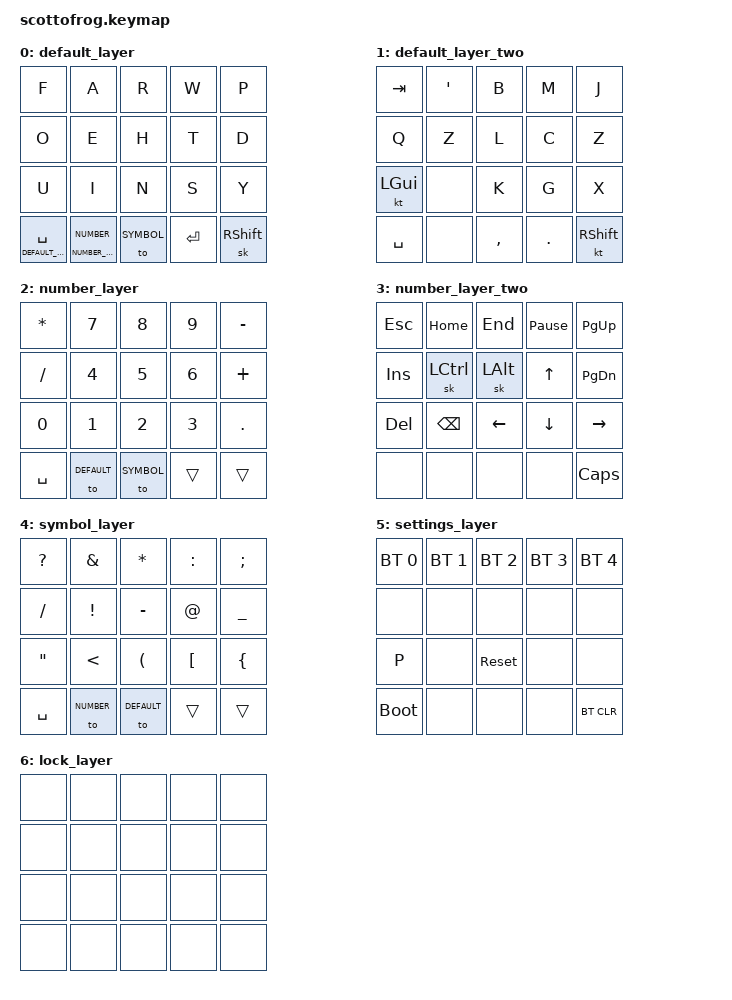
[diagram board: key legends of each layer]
#include <behaviors.dtsi>
#include <dt-bindings/zmk/keys.h>
#include <dt-bindings/zmk/bt.h>

#define DEFAULT 0
#define DEFAULT_TWO 1
#define NUMBER 2
#define NUMBER_TWO 3
#define SYMBOL 4
#define SETTINGS 5
#define LOCK 6

// Behavior Overrides
&lt {
    tapping-term-ms = <200>;
    flavor = "hold-preferred";
}; 

#define COMBO_TIMEOUT 50

/ {
    behaviors {
        mo_to: mo_to {
            compatible = "zmk,behavior-hold-tap";
            #binding-cells = <2>;
            flavor = "hold-preferred";
            tapping-term-ms = <200>;
            bindings = <&mo>, <&tog>;
        };
    };

    combos {
        compatible = "zmk,combos";

        // Meta combos
        meta_settings_combo {
            timeout-ms = <50>;
            key-positions = <16 17 18>;
            bindings = <&mo SETTINGS>;
        };

        meta_lock_combo {
            timeout-ms = <50>;
            key-positions = <15 17 19>;
            bindings = <&tog LOCK>;
        };

        // Letter combos
        letters_tab_combo {
            timeout-ms = <COMBO_TIMEOUT>;
            key-positions = <15 0>;
            bindings = <&kp TAB>;
            layers = <DEFAULT>;
        };

        letters_single_quote_combo {
            timeout-ms = <COMBO_TIMEOUT>;
            key-positions = <15 1>;
            bindings = <&kp SINGLE_QUOTE>;
            layers = <DEFAULT>;
        };

        letters_b_combo {
            timeout-ms = <COMBO_TIMEOUT>;
            key-positions = <15 2>;
            bindings = <&kp B>;
            layers = <DEFAULT>;
        };

        letters_m_combo {
            timeout-ms = <COMBO_TIMEOUT>;
            key-positions = <15 3>;
            bindings = <&kp M>;
            layers = <DEFAULT>;
        };

        letters_j_combo {
            timeout-ms = <COMBO_TIMEOUT>;
            key-positions = <15 4>;
            bindings = <&kp J>;
            layers = <DEFAULT>;
        };

        letters_q_combo {
            timeout-ms = <COMBO_TIMEOUT>;
            key-positions = <15 5>;
            bindings = <&kp Q>;
            layers = <DEFAULT>;
        };

        letters_z_combo {
            timeout-ms = <COMBO_TIMEOUT>;
            key-positions = <15 6>;
            bindings = <&kp Z>;
            layers = <DEFAULT>;
        };

        letters_l_combo {
            timeout-ms = <COMBO_TIMEOUT>;
            key-positions = <15 7>;
            bindings = <&kp L>;
            layers = <DEFAULT>;
        };

        letters_c_combo {
            timeout-ms = <COMBO_TIMEOUT>;
            key-positions = <15 8>;
            bindings = <&kp C>;
            layers = <DEFAULT>;
        };

        letters_v_combo {
            timeout-ms = <COMBO_TIMEOUT>;
            key-positions = <15 9>;
            bindings = <&kp V>;
            layers = <DEFAULT>;
        };

        letters_windows_combo {
            timeout-ms = <COMBO_TIMEOUT>;
            key-positions = <15 10>;
            bindings = <&sk LGUI>;
            layers = <DEFAULT>;
        };

        letters_app_combo {
            timeout-ms = <COMBO_TIMEOUT>;
            key-positions = <15 11>;
            bindings = <&kp K_APP>;
            layers = <DEFAULT>;
        };

        letters_k_combo {
            timeout-ms = <COMBO_TIMEOUT>;
            key-positions = <15 12>;
            bindings = <&kp K>;
            layers = <DEFAULT>;
        };

        letters_g_combo {
            timeout-ms = <COMBO_TIMEOUT>;
            key-positions = <15 13>;
            bindings = <&kp G>;
            layers = <DEFAULT>;
        };

        letters_x_combo {
            timeout-ms = <COMBO_TIMEOUT>;
            key-positions = <15 14>;
            bindings = <&kp X>;
            layers = <DEFAULT>;
        };

        letters_comma_combo {
            timeout-ms = <COMBO_TIMEOUT>;
            key-positions = <15 17>;
            bindings = <&kp COMMA>;
        };

        letters_period_combo {
            timeout-ms = <COMBO_TIMEOUT>;
            key-positions = <15 18>;
            bindings = <&kp PERIOD>;
        };

        // Symbol combos
        symbol_plus_combo {
            timeout-ms = <COMBO_TIMEOUT>;
            key-positions = <15 1>;
            bindings = <&kp PLUS>;
            layers = <SYMBOL>;
        };

        symbol_equal_combo {
            timeout-ms = <COMBO_TIMEOUT>;
            key-positions = <15 2>;
            bindings = <&kp EQUAL>;
            layers = <SYMBOL>;
        };

        symbol_dollar_combo {
            timeout-ms = <COMBO_TIMEOUT>;
            key-positions = <15 3>;
            bindings = <&kp DOLLAR>;
            layers = <SYMBOL>;
        };

        symbol_hash_combo {
            timeout-ms = <COMBO_TIMEOUT>;
            key-positions = <15 4>;
            bindings = <&kp HASH>;
            layers = <SYMBOL>;
        };

        symbol_backslash_combo {
            timeout-ms = <COMBO_TIMEOUT>;
            key-positions = <15 5>;
            bindings = <&kp BACKSLASH>;
            layers = <SYMBOL>;
        };

        symbol_percent_combo {
            timeout-ms = <COMBO_TIMEOUT>;
            key-positions = <15 6>;
            bindings = <&kp PERCENT>;
            layers = <SYMBOL>;
        };

        symbol_pipe_combo {
            timeout-ms = <COMBO_TIMEOUT>;
            key-positions = <15 7>;
            bindings = <&kp PIPE>;
            layers = <SYMBOL>;
        };

        symbol_tilde_combo {
            timeout-ms = <COMBO_TIMEOUT>;
            key-positions = <15 8>;
            bindings = <&kp TILDE>;
            layers = <SYMBOL>;
        };

        symbol_caret_combo {
            timeout-ms = <COMBO_TIMEOUT>;
            key-positions = <15 9>;
            bindings = <&kp CARET>;
            layers = <SYMBOL>;
        }; 

        symbol_grave_combo {
            timeout-ms = <COMBO_TIMEOUT>;
            key-positions = <15 10>;
            bindings = <&kp GRAVE>;
            layers = <SYMBOL>;
        };

        symbol_greater_than_combo {
            timeout-ms = <COMBO_TIMEOUT>;
            key-positions = <15 11>;
            bindings = <&kp GREATER_THAN>;
            layers = <SYMBOL>;
        };

        symbol_right_parenthesis_combo {
            timeout-ms = <COMBO_TIMEOUT>;
            key-positions = <15 12>;
            bindings = <&kp RIGHT_PARENTHESIS>;
            layers = <SYMBOL>;
        };

        symbol_right_bracket_combo {
            timeout-ms = <COMBO_TIMEOUT>;
            key-positions = <15 13>;
            bindings = <&kp RIGHT_BRACKET>;
            layers = <SYMBOL>;
        };

        symbol_right_brace_combo {
            timeout-ms = <COMBO_TIMEOUT>;
            key-positions = <15 14>;
            bindings = <&kp RIGHT_BRACE>;
            layers = <SYMBOL>;
        }; 

        // Number combos
        number_f7_combo {
            timeout-ms = <COMBO_TIMEOUT>;
            key-positions = <15 1>;
            bindings = <&kp F7>;
            layers = <NUMBER>;
        };

        number_f8_combo {
            timeout-ms = <COMBO_TIMEOUT>;
            key-positions = <15 2>;
            bindings = <&kp F8>;
            layers = <NUMBER>;
        };

        number_f9_combo {
            timeout-ms = <COMBO_TIMEOUT>;
            key-positions = <15 3>;
            bindings = <&kp F9>;
            layers = <NUMBER>;
        };

        number_minus_combo {
            timeout-ms = <COMBO_TIMEOUT>;
            key-positions = <15 4>;
            bindings = <&kp MINUS>;
            layers = <NUMBER>;
        };

        number_f11_combo {
            timeout-ms = <COMBO_TIMEOUT>;
            key-positions = <15 5>;
            bindings = <&kp F11>;
            layers = <NUMBER>;
        };

        number_f4_combo {
            timeout-ms = <COMBO_TIMEOUT>;
            key-positions = <15 6>;
            bindings = <&kp F4>;
            layers = <NUMBER>;
        };

        number_f5_combo {
            timeout-ms = <COMBO_TIMEOUT>;
            key-positions = <15 7>;
            bindings = <&kp F5>;
            layers = <NUMBER>;
        };

        number_f6_combo {
            timeout-ms = <COMBO_TIMEOUT>;
            key-positions = <15 8>;
            bindings = <&kp F6>;
            layers = <NUMBER>;
        };

        number_f12_combo {
            timeout-ms = <COMBO_TIMEOUT>;
            key-positions = <15 9>;
            bindings = <&kp F12>;
            layers = <NUMBER>;
        };

        number_f1_combo {
            timeout-ms = <COMBO_TIMEOUT>;
            key-positions = <15 11>;
            bindings = <&kp F1>;
            layers = <NUMBER>;
        };

        number_f2_combo {
            timeout-ms = <COMBO_TIMEOUT>;
            key-positions = <15 12>;
            bindings = <&kp F2>;
            layers = <NUMBER>;
        };

        number_f3_combo {
            timeout-ms = <COMBO_TIMEOUT>;
            key-positions = <15 13>;
            bindings = <&kp F3>;
            layers = <NUMBER>;
        };

        number_equal_combo {
            timeout-ms = <COMBO_TIMEOUT>;
            key-positions = <15 14>;
            bindings = <&kp EQUAL>;
            layers = <NUMBER>;
        };

        // Orange combos
        orange_esc_combo {
            timeout-ms = <COMBO_TIMEOUT>;
            key-positions = <16 0>;
            bindings = <&kp ESC>;
            layers = <DEFAULT>;
        };

        orange_home_combo {
            timeout-ms = <COMBO_TIMEOUT>;
            key-positions = <16 1>;
            bindings = <&kp HOME>;
            layers = <DEFAULT>;
        };

        orange_end_combo {
            timeout-ms = <COMBO_TIMEOUT>;
            key-positions = <16 2>;
            bindings = <&kp END>;
            layers = <DEFAULT>;
        };

        orange_pause_break_combo {
            timeout-ms = <COMBO_TIMEOUT>;
            key-positions = <16 3>;
            bindings = <&kp PAUSE_BREAK>;
            layers = <DEFAULT>;
        };

        orange_page_up_combo {
            timeout-ms = <COMBO_TIMEOUT>;
            key-positions = <16 4>;
            bindings = <&kp PAGE_UP>;
            layers = <DEFAULT>;
        };

        orange_insert_combo {
            timeout-ms = <COMBO_TIMEOUT>;
            key-positions = <16 5>;
            bindings = <&kp INSERT>;
            layers = <DEFAULT>;
        };

        orange_lctrl_combo {
            timeout-ms = <COMBO_TIMEOUT>;
            key-positions = <16 6>;
            bindings = <&sk LCTRL>;
            layers = <DEFAULT>;
        };

        orange_lalt_combo {
            timeout-ms = <COMBO_TIMEOUT>;
            key-positions = <16 7>;
            bindings = <&sk LALT>;
            layers = <DEFAULT>;
        };

        orange_up_arrow_combo {
            timeout-ms = <COMBO_TIMEOUT>;
            key-positions = <16 8>;
            bindings = <&kp UP_ARROW>;
            layers = <DEFAULT>;
        };

        orange_page_down_combo {
            timeout-ms = <COMBO_TIMEOUT>;
            key-positions = <16 9>;
            bindings = <&kp PAGE_DOWN>;
            layers = <DEFAULT>;
        };

        orange_delete_combo {
            timeout-ms = <COMBO_TIMEOUT>;
            key-positions = <16 10>;
            bindings = <&kp DELETE>;
            layers = <DEFAULT>;
        };

        orange_backspace_combo {
            timeout-ms = <COMBO_TIMEOUT>;
            key-positions = <16 11>;
            bindings = <&kp BACKSPACE>;
            layers = <DEFAULT>;
        };

        orange_left_arrow_combo {
            timeout-ms = <COMBO_TIMEOUT>;
            key-positions = <16 12>;
            bindings = <&kp LEFT_ARROW>;
            layers = <DEFAULT>;
        };

        orange_down_arrow_combo {
            timeout-ms = <COMBO_TIMEOUT>;
            key-positions = <16 13>;
            bindings = <&kp DOWN_ARROW>;
            layers = <DEFAULT>;
        };

        orange_right_arrow_combo {
            timeout-ms = <COMBO_TIMEOUT>;
            key-positions = <16 14>;
            bindings = <&kp RIGHT_ARROW>;
            layers = <DEFAULT>;
        };

        orange_caps_lock_combo {
            timeout-ms = <COMBO_TIMEOUT>;
            key-positions = <16 19>;
            bindings = <&kp CAPSLOCK>;
            layers = <DEFAULT>;
        };

        // Special combos
        special_scroll_lock_combo {
            timeout-ms = <COMBO_TIMEOUT>;
            key-positions = <16 1>;
            bindings = <&kp SCROLLLOCK>;
            layers = <SYMBOL>;
        };

        special_print_screen_combo {
            timeout-ms = <COMBO_TIMEOUT>;
            key-positions = <16 2>;
            bindings = <&kp PRINTSCREEN>;
            layers = <SYMBOL>;
        };

        special_num_lock_combo {
            timeout-ms = <COMBO_TIMEOUT>;
            key-positions = <16 4>;
            bindings = <&kt LOCKING_NUM>;
            layers = <SYMBOL>;
        }; 

        special_left_arrow_combo {
            timeout-ms = <COMBO_TIMEOUT>;
            key-positions = <16 5>;
            bindings = <&kp LEFT_ARROW>;
            layers = <SYMBOL>;
        }; 

        special_left_control_combo {
            timeout-ms = <COMBO_TIMEOUT>;
            key-positions = <16 6>;
            bindings = <&kt LCTRL>;
            layers = <SYMBOL>;
        };  

        special_left_alt_combo {
            timeout-ms = <COMBO_TIMEOUT>;
            key-positions = <16 7>;
            bindings = <&kt LALT>;
            layers = <SYMBOL>;
        }; 

        special_right_arrow_combo {
            timeout-ms = <COMBO_TIMEOUT>;
            key-positions = <16 9>;
            bindings = <&kp RIGHT_ARROW>;
            layers = <SYMBOL>;
        };  

        special_windows_combo {
            timeout-ms = <COMBO_TIMEOUT>;
            key-positions = <16 10>;
            bindings = <&kt LGUI>;
            layers = <SYMBOL>;
        };  

        special_application_combo {
            timeout-ms = <COMBO_TIMEOUT>;
            key-positions = <16 11>;
            bindings = <&kt LGUI>;
            layers = <SYMBOL>;
        };       

        special_shift_lock_combo {
            timeout-ms = <COMBO_TIMEOUT>;
            key-positions = <15 19>;
            bindings = <&kt RSHIFT>;
            layers = <DEFAULT>;
        };         
    };

    keymap {
        compatible = "zmk,keymap";

        default_layer {
            bindings = <
                                      &kp F                    &kp A &kp R      &kp W &kp P 
                                      &kp O                    &kp E &kp H      &kp T &kp D 
                                      &kp U                    &kp I &kp N      &kp S &kp Y 
                &lt DEFAULT_TWO SPACE &mo_to NUMBER_TWO NUMBER       &to SYMBOL       &kp ENTER   &sk RSHIFT
            >;
        };

        default_layer_two {
            bindings = <
                            &kp TAB   &kp SINGLE_QUOTE &kp B     &kp M &kp J
                            &kp Q   &kp Z &kp L     &kp C &kp Z
                            &kt LGUI      &none &kp K     &kp G &kp X
                &kp SPACE   &none        &kp COMMA        &kp PERIOD       &kt RSHIFT
            >;
        };

        number_layer {
            bindings = <
                            &kp ASTERISK   &kp N7 &kp N8     &kp N9 &kp MINUS
                            &kp SLASH   &kp N4 &kp N5     &kp N6 &kp PLUS
                            &kp N0      &kp N1 &kp N2     &kp N3 &kp PERIOD
                &kp SPACE   &to DEFAULT        &to SYMBOL        &trans       &trans
            >;
        }; 

        number_layer_two {
            bindings = <
                            &kp ESC   &kp HOME &kp END     &kp PAUSE_BREAK &kp PAGE_UP
                            &kp INSERT   &sk LCTRL &sk LALT     &kp UP_ARROW &kp PAGE_DOWN
                            &kp DELETE      &kp BACKSPACE &kp LEFT_ARROW     &kp DOWN_ARROW &kp RIGHT_ARROW
                &none      &none        &none        &none       &kp CAPSLOCK
            >;
        };

        symbol_layer {
            bindings = <
                          &kp QUESTION      &kp AMPERSAND   &kp ASTERISK         &kp COLON        &kp SEMICOLON
                          &kp SLASH         &kp EXCLAMATION &kp MINUS            &kp AT           &kp UNDERSCORE
                          &kp DOUBLE_QUOTES &kp LESS_THAN   &kp LEFT_PARENTHESIS &kp LEFT_BRACKET &kp LEFT_BRACE 
                &kp SPACE &to NUMBER                        &to DEFAULT                           &trans         &trans
            >;
        }; 
        
        settings_layer {
            bindings = <
                            &bt BT_SEL 0 &bt BT_SEL 1 &bt BT_SEL 2 &bt BT_SEL 3 &bt BT_SEL 4
                            &none        &none        &none        &none        &none 
                            &kp P        &none        &sys_reset   &none        &none 
                &bootloader &none                     &none                     &none        &bt BT_CLR
            >;
        };

        lock_layer {
            bindings = <
                      &none &none &none &none &none 
                      &none &none &none &none &none 
                      &none &none &none &none &none 
                &none &none       &none       &none       &none
            >;
        };
    };
};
